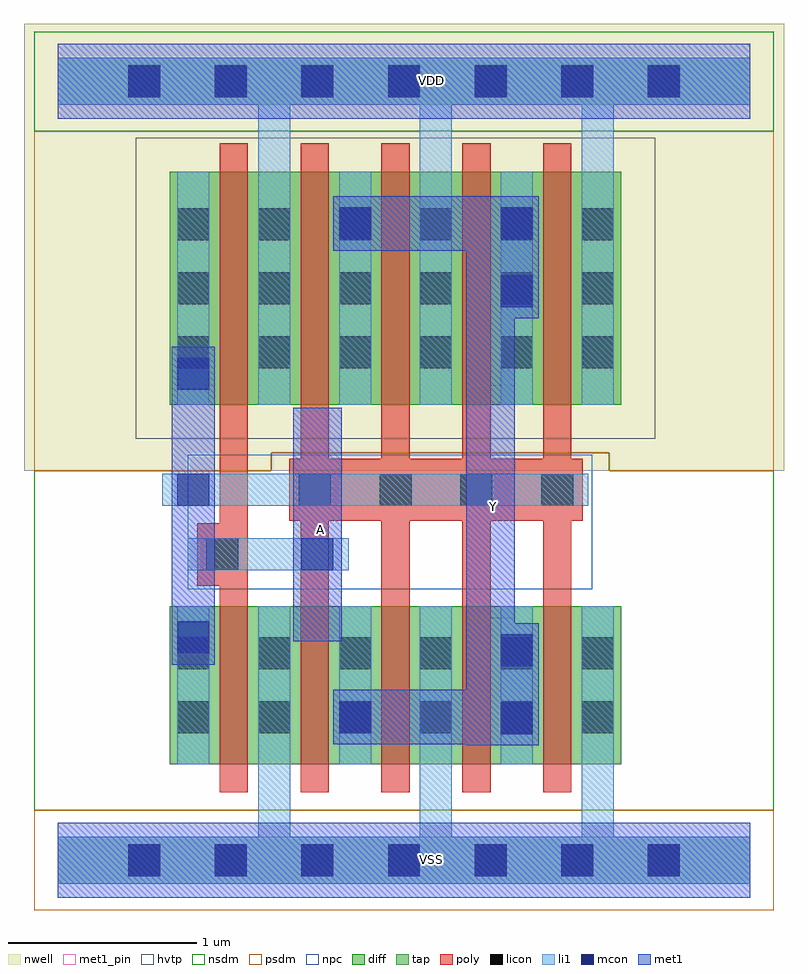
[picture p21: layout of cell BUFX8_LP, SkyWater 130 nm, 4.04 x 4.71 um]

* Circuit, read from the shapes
.subckt BUFX8_LP A VDD VSS Y
XM1 VSS A n1 VSS sky130_fd_pr__nfet_01v8 w=0.84 l=0.15
XM2 Y n1 VSS VSS sky130_fd_pr__nfet_01v8 w=0.84 l=0.15 m=4
XM3 VDD A n1 VDD sky130_fd_pr__pfet_01v8_hvt w=1.24 l=0.15
XM4 Y n1 VDD VDD sky130_fd_pr__pfet_01v8_hvt w=1.24 l=0.15 m=4
.ends

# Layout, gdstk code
import gdstk
lib = gdstk.Library(unit=1e-6, precision=1e-09)
def R(c, l, rs):  # rectangles x0, y0, x1, y1
    for r in rs: c.add(gdstk.rectangle(r[:2], r[2:], *l))
def A(c, l, x, y, w, h, nx, ny, dx, dy):  # array of equal rectangles
    R(c, l, [(x+i*dx, y+j*dy, x+i*dx+w, y+j*dy+h) for i in range(nx) for j in range(ny)])
def P(c, l, *ps):  # polygons
    for p in ps: c.add(gdstk.Polygon(p, *l))
nwell = (64, 20)
diff = (65, 20)
tap = (65, 44)
poly = (66, 20)
licon = (66, 44)
li1 = (67, 20)
mcon = (67, 44)
met1_pin = (68, 16)
met1 = (68, 20)
hvtp = (78, 44)
nsdm = (93, 44)
psdm = (94, 20)
npc = (95, 20)

l1m1_c_cdns_752016907002 = lib.new_cell('L1M1_C_CDNS_752016907002')
R(l1m1_c_cdns_752016907002, li1, [(-0.085,-0.345,0.085,0.345)])
R(l1m1_c_cdns_752016907002, mcon, [(-0.085,-0.265,0.085,-0.095), (-0.085,0.095,0.085,0.265)])
R(l1m1_c_cdns_752016907002, met1, [(-0.115,-0.325,0.115,0.325)])

pyl1con_c_cdns_752016907 = lib.new_cell('PYL1CON_C_CDNS_752016907000')
R(pyl1con_c_cdns_752016907, poly, [(-0.135,-0.165,0.135,0.165)])
R(pyl1con_c_cdns_752016907, licon, [(-0.085,-0.085,0.085,0.085)])
R(pyl1con_c_cdns_752016907, npc, [(-0.185,-0.185,0.185,0.185)])

l1m1_c_cdns_752016907001 = lib.new_cell('L1M1_C_CDNS_752016907001')
R(l1m1_c_cdns_752016907001, li1, [(-0.085,-0.165,0.085,0.165)])
R(l1m1_c_cdns_752016907001, mcon, [(-0.085,-0.085,0.085,0.085)])
R(l1m1_c_cdns_752016907001, met1, [(-0.115,-0.145,0.115,0.145)])

l1m1_c_cdns_752016907003 = lib.new_cell('L1M1_C_CDNS_752016907003')
R(l1m1_c_cdns_752016907003, li1, [(-0.165,-0.085,0.165,0.085)])
R(l1m1_c_cdns_752016907003, mcon, [(-0.085,-0.085,0.085,0.085)])
R(l1m1_c_cdns_752016907003, met1, [(-0.115,-0.145,0.115,0.145)])

bufx8_lp = lib.new_cell('BUFX8_LP')
R(bufx8_lp, nwell, [(-0.18,2.07,3.86,4.445)])
R(bufx8_lp, diff, [(0.595,0.51,2.995,1.35), (0.595,2.42,2.995,3.66)])
R(bufx8_lp, poly, [(0.86,0.36,1.01,3.81)])
P(bufx8_lp, poly, [(2.79,2.135),(2.73,2.135),(2.73,3.81),(2.58,3.81),(2.58,2.135),(2.3,2.135),(2.3,3.81),(2.15,3.81),(2.15,2.135),(1.87,2.135),(1.87,3.81),(1.72,3.81),(1.72,2.135),(1.44,2.135),(1.44,3.81),(1.29,3.81),(1.29,2.135),(1.23,2.135),(1.23,1.805),(1.29,1.805),(1.29,0.36),(1.44,0.36),(1.44,1.805),(1.72,1.805),(1.72,0.36),(1.87,0.36),(1.87,1.805),(2.15,1.805),(2.15,0.36),(2.3,0.36),(2.3,1.805),(2.58,1.805),(2.58,0.36),(2.73,0.36),(2.73,1.805),(2.79,1.805)])
A(bufx8_lp, licon, 0.375, -0.085, 0.17, 0.17, 7, 2, 0.46, 4.14)
A(bufx8_lp, licon, 0.635, 0.675, 0.17, 0.17, 6, 2, 0.43, 0.34)
A(bufx8_lp, licon, 0.635, 2.615, 0.17, 0.17, 6, 3, 0.43, 0.34)
A(bufx8_lp, li1, 0.635, 0.51, 0.17, 0.84, 3, 1, 0.86, 0)
A(bufx8_lp, li1, 0.635, 2.42, 0.17, 1.24, 3, 1, 0.86, 0)
P(bufx8_lp, li1, [(3.68,4.265),(0,4.265),(0,4.015),(1.065,4.015),(1.065,2.42),(1.235,2.42),(1.235,4.015),(1.925,4.015),(1.925,2.42),(2.095,2.42),(2.095,4.015),(2.785,4.015),(2.785,2.42),(2.955,2.42),(2.955,4.015),(3.68,4.015)],
  [(3.68,0.125),(2.955,0.125),(2.955,1.35),(2.785,1.35),(2.785,0.125),(2.095,0.125),(2.095,1.35),(1.925,1.35),(1.925,0.125),(1.235,0.125),(1.235,1.35),(1.065,1.35),(1.065,0.125),(0,0.125),(0,-0.125),(3.68,-0.125)])
A(bufx8_lp, mcon, 0.375, -0.085, 0.17, 0.17, 7, 2, 0.46, 4.14)
R(bufx8_lp, met1_pin, [(1.25,1.165,1.51,2.405), (2.17,1.285,2.43,2.525)])
P(bufx8_lp, met1, [(2.43,3.53),(1.58,3.53),(1.58,3.24),(2.17,3.24),(2.17,0.905),(1.58,0.905),(1.58,0.615),(2.17,0.615),(2.17,0.61),(2.43,0.61)])
R(bufx8_lp, hvtp, [(0.415,2.24,3.175,3.84)])
R(bufx8_lp, nsdm, [(-0.125,3.875,3.805,4.405)])
P(bufx8_lp, nsdm, [(3.805,2.07),(2.93,2.07),(2.93,2.165),(1.135,2.165),(1.135,2.07),(-0.125,2.07),(-0.125,0.265),(3.805,0.265)])
R(bufx8_lp, psdm, [(-0.125,-0.265,3.805,0.265)])
P(bufx8_lp, psdm, [(3.805,3.875),(-0.125,3.875),(-0.125,2.07),(1.135,2.07),(1.135,2.165),(2.93,2.165),(2.93,2.07),(3.805,2.07)])
R(bufx8_lp, npc, [(0.69,1.44,2.84,2.155)])
bufx8_lp.add(gdstk.FlexPath([(0.72,1.97),(2.82,1.97)], 0.17, ends="flush", simple_path=True, layer=67, datatype=20))  # li1
bufx8_lp.add(gdstk.FlexPath([(1.315,1.625),(0.69,1.625)], 0.17, ends="flush", simple_path=True, layer=67, datatype=20))  # li1
bufx8_lp.add(gdstk.FlexPath([(0,4.14),(3.68,4.14)], 0.4, ends="flush", simple_path=True, layer=68, datatype=16))  # met1_pin
bufx8_lp.add(gdstk.FlexPath([(0,0),(3.68,0)], 0.4, ends="flush", simple_path=True, layer=68, datatype=16))  # met1_pin
bufx8_lp.add(gdstk.FlexPath([(0,4.14),(3.68,4.14)], 0.4, ends="flush", simple_path=True, layer=68, datatype=20))  # met1
bufx8_lp.add(gdstk.FlexPath([(0,0),(3.68,0)], 0.4, ends="flush", simple_path=True, layer=68, datatype=20))  # met1
bufx8_lp.add(gdstk.FlexPath([(1.38,1.165),(1.38,2.405)], 0.26, ends="flush", simple_path=True, layer=68, datatype=20))  # met1
bufx8_lp.add(gdstk.FlexPath([(0.72,1.185),(0.72,2.73)], 0.23, ends=(0.115, 0), simple_path=True, layer=68, datatype=20))  # met1
bufx8_lp.add(gdstk.FlexPath([(0,4.14),(3.68,4.14)], 0.25, ends="flush", simple_path=True, layer=65, datatype=44))  # tap
bufx8_lp.add(gdstk.FlexPath([(0,0),(3.68,0)], 0.25, ends="flush", simple_path=True, layer=65, datatype=44))  # tap
bufx8_lp.add(gdstk.Reference(l1m1_c_cdns_752016907002, (2.44,0.935)))
bufx8_lp.add(gdstk.Reference(l1m1_c_cdns_752016907002, (2.44,3.205)))
bufx8_lp.add(gdstk.Reference(pyl1con_c_cdns_752016907, (2.655,1.97), x_reflection=True))
bufx8_lp.add(gdstk.Reference(pyl1con_c_cdns_752016907, (2.225,1.97), x_reflection=True))
bufx8_lp.add(gdstk.Reference(pyl1con_c_cdns_752016907, (0.875,1.625), x_reflection=True))
bufx8_lp.add(gdstk.Reference(pyl1con_c_cdns_752016907, (1.365,1.97), x_reflection=True))
bufx8_lp.add(gdstk.Reference(pyl1con_c_cdns_752016907, (1.795,1.97), x_reflection=True))
bufx8_lp.add(gdstk.Reference(l1m1_c_cdns_752016907001, (1.58,3.385)))
bufx8_lp.add(gdstk.Reference(l1m1_c_cdns_752016907001, (1.58,0.76)))
bufx8_lp.add(gdstk.Reference(l1m1_c_cdns_752016907001, (0.72,2.585)))
bufx8_lp.add(gdstk.Reference(l1m1_c_cdns_752016907001, (0.72,1.185)))
bufx8_lp.add(gdstk.Reference(l1m1_c_cdns_752016907003, (0.72,1.97)))
bufx8_lp.add(gdstk.Reference(l1m1_c_cdns_752016907003, (1.38,1.625), x_reflection=True))
bufx8_lp.add(gdstk.Label('VDD', (1.985,4.145), layer=68, texttype=5))
bufx8_lp.add(gdstk.Label('A', (1.395,1.76), layer=68, texttype=5))
bufx8_lp.add(gdstk.Label('Y', (2.315,1.88), layer=68, texttype=5))
bufx8_lp.add(gdstk.Label('VSS', (1.985,0.005), layer=68, texttype=5))

lib.write_gds('BUFX8_LP.gds')
